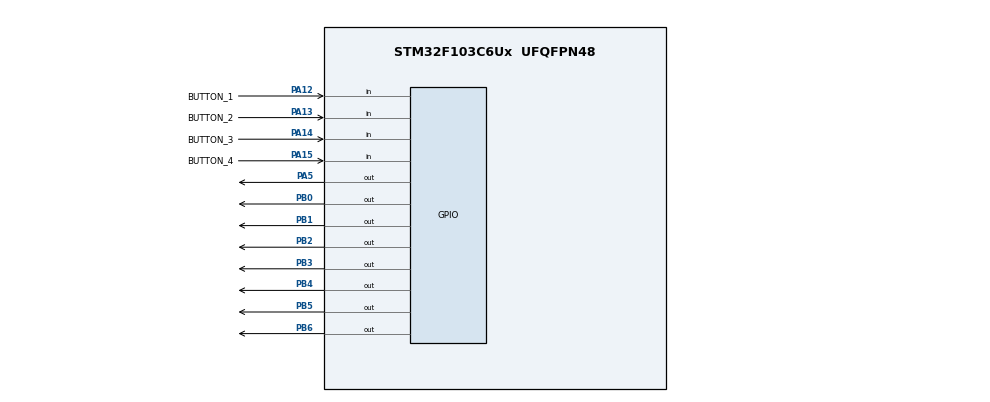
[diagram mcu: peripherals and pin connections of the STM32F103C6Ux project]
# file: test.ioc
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Mcu.Family=STM32F1
Mcu.Name=STM32F103C6Ux
Mcu.Package=UFQFPN48
NVIC.PriorityGroup=NVIC_PRIORITYGROUP_4
NVIC.TIM2_IRQn=true\:0\:0\:false\:false\:true\:true\:true
PA12.GPIO_Label=BUTTON_1
PA12.GPIO_PuPd=GPIO_PULLUP
PA12.Signal=GPIO_Input
PA13.GPIO_Label=BUTTON_2
PA13.GPIO_PuPd=GPIO_PULLUP
PA13.Signal=GPIO_Input
PA14.GPIO_Label=BUTTON_3
PA14.GPIO_PuPd=GPIO_PULLUP
PA14.Signal=GPIO_Input
PA15.GPIO_Label=BUTTON_4
PA15.GPIO_PuPd=GPIO_PULLUP
PA15.Signal=GPIO_Input
PA5.Signal=GPIO_Output
PB0.Signal=GPIO_Output
PB1.Signal=GPIO_Output
PB2.Signal=GPIO_Output
PB3.Signal=GPIO_Output
PB4.Signal=GPIO_Output
PB5.Signal=GPIO_Output
PB6.Signal=GPIO_Output
ProjectManager.HeapSize=0x200
ProjectManager.StackSize=0x400
ProjectManager.TargetToolchain=STM32CubeIDE
RCC.APB1Freq_Value=8000000
RCC.APB2Freq_Value=8000000
TIM2.AutoReloadPreload=TIM_AUTORELOAD_PRELOAD_ENABLE
TIM2.Period=9
TIM2.Prescaler=7999
VP_SYS_VS_ND.Mode=No_Debug
VP_TIM2_VS_ClockSourceINT.Mode=Internal
board=custom

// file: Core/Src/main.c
/* USER CODE BEGIN Header */
/**
  ******************************************************************************
  * @file           : main.c
  * @brief          : Main program body
  ******************************************************************************
  * @attention
  *
  * <h2><center>&copy; Copyright (c) 2022 STMicroelectronics.
  * All rights reserved.</center></h2>
  *
  * This software component is licensed by ST under BSD 3-Clause license,
  * the "License"; You may not use this file except in compliance with the
  * License. You may obtain a copy of the License at:
  *                        opensource.org/licenses/BSD-3-Clause
  *
  ******************************************************************************
  */
/* USER CODE END Header */
#include "main.h"

/* USER CODE BEGIN Includes */
#include "global.h"

#include "input_reading.h"

#include "timer.h"
#include "fsm.h"

int status = RUNNING;
int timer=MAX+1;
/* USER CODE END Includes */

TIM_HandleTypeDef htim2;

void SystemClock_Config(void);
static void MX_TIM2_Init(void);
static void MX_GPIO_Init(void);

/* USER CODE BEGIN 0 */
#include <stdint.h>

typedef struct{
	void (*pTask)(void);
	uint32_t 	Delay;
	uint32_t 	Period;
	uint8_t 	RunMe;

	uint32_t 	TaskID;
}sTasks;

#define SCH_MAX_TASKS	40

void SCH_Init(void);

void SCH_Add_Task ( void (*pFunction)() ,
					uint32_t DELAY,
					uint32_t PERIOD);

void SCH_Update(void);

void SCH_Dispatch_Tasks(void);

/* USER CODE END 0 */

int main(void)
{

  /* MCU Configuration--------------------------------------------------------*/

  /* Reset of all peripherals, Initializes the Flash interface and the Systick. */
  HAL_Init();

  /* Configure the system clock */
  SystemClock_Config();

  /* Initialize all configured peripherals */
  MX_TIM2_Init();
  MX_GPIO_Init();
  /* USER CODE BEGIN 2 */
  HAL_TIM_Base_Start_IT (& htim2 ) ;

  /* USER CODE END 2 */

  /* Infinite loop */
  /* USER CODE BEGIN WHILE */
  setTimer0 (1) ;
  setTimer3 (10) ;

  while (1)
  {

    /* USER CODE END WHILE */

    /* USER CODE BEGIN 3 */
//	 fsm_automatic_run1();
//	 fsm_automatic_run2();
//	 fsm_automatic_run3();
	 fsm_simple_buttons_run();

	 if (timer3_flag==1){
		 timer3_flag=0;
		 HAL_GPIO_TogglePin(GPIOA, GPIO_PIN_5);
		 setTimer3(50);
	 }

//	 fsm_for_input_processing () ;

  }
  /* USER CODE END 3 */
}

void SystemClock_Config(void)
{
  RCC_OscInitTypeDef RCC_OscInitStruct = {0};
  RCC_ClkInitTypeDef RCC_ClkInitStruct = {0};

  /** Initializes the RCC Oscillators according to the specified parameters
  * in the RCC_OscInitTypeDef structure.
  */
  RCC_OscInitStruct.OscillatorType = RCC_OSCILLATORTYPE_HSI;
  RCC_OscInitStruct.HSIState = RCC_HSI_ON;
  RCC_OscInitStruct.HSICalibrationValue = RCC_HSICALIBRATION_DEFAULT;
  RCC_OscInitStruct.PLL.PLLState = RCC_PLL_NONE;
  if (HAL_RCC_OscConfig(&RCC_OscInitStruct) != HAL_OK)
  {
    Error_Handler();
  }
  /** Initializes the CPU, AHB and APB buses clocks
  */
  RCC_ClkInitStruct.ClockType = RCC_CLOCKTYPE_HCLK|RCC_CLOCKTYPE_SYSCLK
                              |RCC_CLOCKTYPE_PCLK1|RCC_CLOCKTYPE_PCLK2;
  RCC_ClkInitStruct.SYSCLKSource = RCC_SYSCLKSOURCE_HSI;
  RCC_ClkInitStruct.AHBCLKDivider = RCC_SYSCLK_DIV1;
  RCC_ClkInitStruct.APB1CLKDivider = RCC_HCLK_DIV1;
  RCC_ClkInitStruct.APB2CLKDivider = RCC_HCLK_DIV1;

  if (HAL_RCC_ClockConfig(&RCC_ClkInitStruct, FLASH_LATENCY_0) != HAL_OK)
  {
    Error_Handler();
  }
}

static void MX_TIM2_Init(void)
{

  TIM_ClockConfigTypeDef sClockSourceConfig = {0};
  TIM_MasterConfigTypeDef sMasterConfig = {0};

  htim2.Instance = TIM2;
  htim2.Init.Prescaler = 7999;
  htim2.Init.CounterMode = TIM_COUNTERMODE_UP;
  htim2.Init.Period = 9;
  htim2.Init.ClockDivision = TIM_CLOCKDIVISION_DIV1;
  htim2.Init.AutoReloadPreload = TIM_AUTORELOAD_PRELOAD_ENABLE;
  if (HAL_TIM_Base_Init(&htim2) != HAL_OK)
  {
    Error_Handler();
  }
  sClockSourceConfig.ClockSource = TIM_CLOCKSOURCE_INTERNAL;
  if (HAL_TIM_ConfigClockSource(&htim2, &sClockSourceConfig) != HAL_OK)
  {
    Error_Handler();
  }
  sMasterConfig.MasterOutputTrigger = TIM_TRGO_RESET;
  sMasterConfig.MasterSlaveMode = TIM_MASTERSLAVEMODE_DISABLE;
  if (HAL_TIMEx_MasterConfigSynchronization(&htim2, &sMasterConfig) != HAL_OK)
  {
    Error_Handler();
  }

}

static void MX_GPIO_Init(void)
{
  GPIO_InitTypeDef GPIO_InitStruct = {0};

  /* GPIO Ports Clock Enable */
  __HAL_RCC_GPIOA_CLK_ENABLE();
  __HAL_RCC_GPIOB_CLK_ENABLE();

  /*Configure GPIO pin Output Level */
  HAL_GPIO_WritePin(GPIOA, GPIO_PIN_5, GPIO_PIN_RESET);

  /*Configure GPIO pin Output Level */
  HAL_GPIO_WritePin(GPIOB, GPIO_PIN_0|GPIO_PIN_1|GPIO_PIN_2|GPIO_PIN_3
                          |GPIO_PIN_4|GPIO_PIN_5|GPIO_PIN_6, GPIO_PIN_RESET);

  /*Configure GPIO pin : PA5 */
  GPIO_InitStruct.Pin = GPIO_PIN_5;
  GPIO_InitStruct.Mode = GPIO_MODE_OUTPUT_PP;
  GPIO_InitStruct.Pull = GPIO_NOPULL;
  GPIO_InitStruct.Speed = GPIO_SPEED_FREQ_LOW;
  HAL_GPIO_Init(GPIOA, &GPIO_InitStruct);

  /*Configure GPIO pins : PB0 PB1 PB2 PB3
                           PB4 PB5 PB6 */
  GPIO_InitStruct.Pin = GPIO_PIN_0|GPIO_PIN_1|GPIO_PIN_2|GPIO_PIN_3
                          |GPIO_PIN_4|GPIO_PIN_5|GPIO_PIN_6;
  GPIO_InitStruct.Mode = GPIO_MODE_OUTPUT_PP;
  GPIO_InitStruct.Pull = GPIO_NOPULL;
  GPIO_InitStruct.Speed = GPIO_SPEED_FREQ_LOW;
  HAL_GPIO_Init(GPIOB, &GPIO_InitStruct);

  /*Configure GPIO pins : BUTTON_1_Pin BUTTON_2_Pin BUTTON_3_Pin BUTTON_4_Pin */
  GPIO_InitStruct.Pin = BUTTON_1_Pin|BUTTON_2_Pin|BUTTON_3_Pin|BUTTON_4_Pin;
  GPIO_InitStruct.Mode = GPIO_MODE_INPUT;
  GPIO_InitStruct.Pull = GPIO_PULLUP;
  HAL_GPIO_Init(GPIOA, &GPIO_InitStruct);

}

/* USER CODE BEGIN 4 */
void HAL_TIM_PeriodElapsedCallback ( TIM_HandleTypeDef * htim )
{
	if( htim -> Instance == TIM2 ){
		timerRun0();
		timerRun1();
		timerRun2();
		timerRun3();
		button_reading();

//		button_reading () ;
	}

}

/* USER CODE END 4 */

void Error_Handler(void)
{
  __disable_irq();
  while (1)
  {
  }
}

/************************ (C) COPYRIGHT STMicroelectronics *****END OF FILE****/
